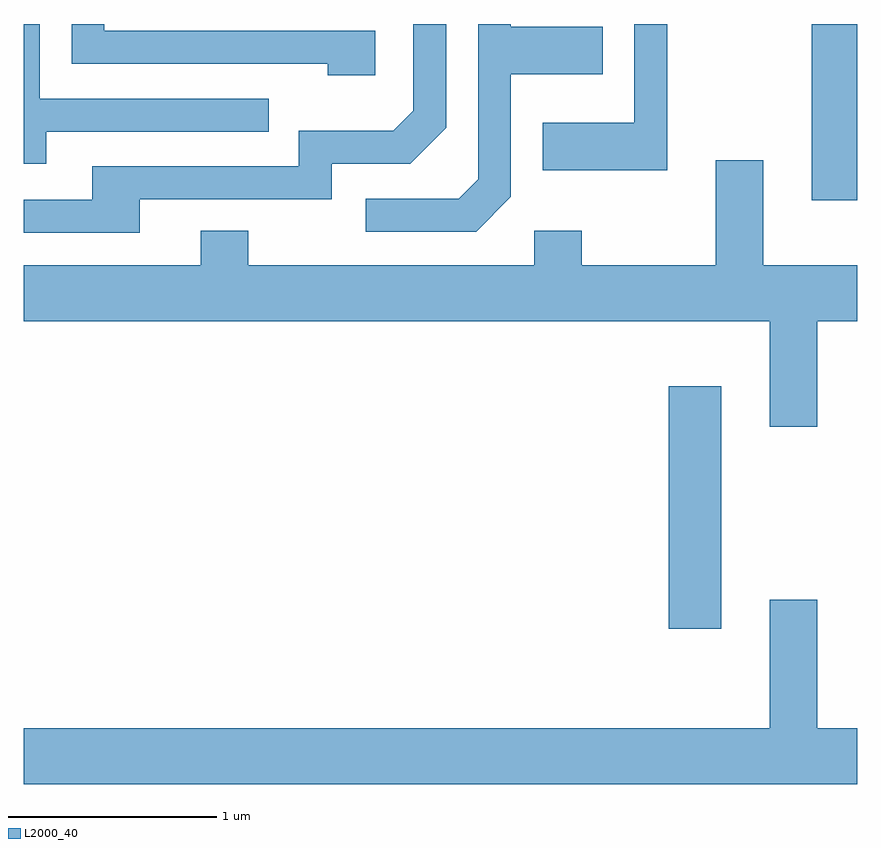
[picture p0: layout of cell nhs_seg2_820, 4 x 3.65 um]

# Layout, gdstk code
import gdstk
lib = gdstk.Library(unit=1e-6, precision=1e-09)
def R(c, l, rs):  # rectangles x0, y0, x1, y1
    for r in rs: c.add(gdstk.rectangle(r[:2], r[2:], *l))
def P(c, l, *ps):  # polygons
    for p in ps: c.add(gdstk.Polygon(p, *l))
L2000_40 = (2000, 40)

nhs_seg2_820 = lib.new_cell('nhs_seg2_820')
R(nhs_seg2_820, L2000_40, [(212.706,986.901,212.959,988.064), (213.391,988.956,213.611,989.802)])
P(nhs_seg2_820, L2000_40, [(212.699,989.802),(212.541,989.802),(212.541,989.329),(212.101,989.329),(212.101,989.101),(212.699,989.101)],
  [(211.299,989.769),(209.999,989.769),(209.999,989.802),(209.841,989.802),(209.841,989.611),(211.071,989.611),(211.071,989.556),(211.299,989.556)],
  [(211.949,988.974),(211.949,989.561),(212.389,989.561),(212.389,989.789),(211.949,989.789),(211.949,989.802),(211.791,989.802),(211.791,989.057),(211.699,988.964),(211.253,988.964),(211.253,988.806),(211.782,988.806)],
  [(210.169,988.961),(211.089,988.961),(211.089,989.131),(211.467,989.131),(211.639,989.304),(211.639,989.802),(211.481,989.802),(211.481,989.387),(211.384,989.289),(210.931,989.289),(210.931,989.119),(209.941,989.119),(209.941,988.959),(209.611,988.959),(209.611,988.801),(210.169,988.801)],
  [(209.719,989.286),(210.788,989.286),(210.788,989.444),(209.689,989.444),(209.689,989.802),(209.611,989.802),(209.611,989.131),(209.719,989.131)],
  [(213.419,988.376),(213.611,988.376),(213.611,988.644),(213.159,988.644),(213.159,989.149),(212.931,989.149),(212.931,988.644),(212.289,988.644),(212.289,988.809),(212.061,988.809),(212.061,988.644),(210.689,988.644),(210.689,988.809),(210.461,988.809),(210.461,988.644),(209.611,988.644),(209.611,988.376),(213.191,988.376),(213.191,987.871),(213.419,987.871)],
  [(213.611,986.424),(213.419,986.424),(213.419,987.039),(213.191,987.039),(213.191,986.424),(209.611,986.424),(209.611,986.156),(213.611,986.156)])

lib.write_gds('nhs_seg2_820.gds')
